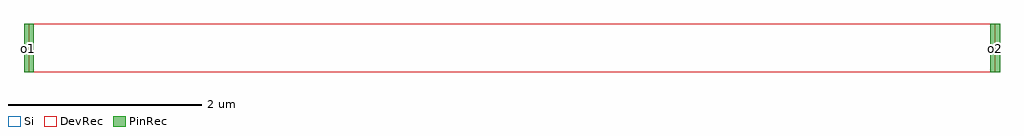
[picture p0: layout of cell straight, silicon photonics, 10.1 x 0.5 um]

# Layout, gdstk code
import gdstk
lib = gdstk.Library(unit=1e-6, precision=1e-09)
def R(c, l, rs):  # rectangles x0, y0, x1, y1
    for r in rs: c.add(gdstk.rectangle(r[:2], r[2:], *l))
Si = (1, 0)
PinRec = (1, 10)
DevRec = (68, 0)

straight = lib.new_cell('straight')
R(straight, Si, [(0,-0.25,10,0.25)])
R(straight, PinRec, [(-0.05,-0.25,0.05,0.25), (9.95,-0.25,10.05,0.25)])
R(straight, DevRec, [(0,-0.25,10,0.25)])
straight.add(gdstk.FlexPath([(0.05,0),(-0.05,0)], 0.5, ends="flush", simple_path=True, layer=1, datatype=10))  # PinRec
straight.add(gdstk.FlexPath([(9.95,0),(10.05,0)], 0.5, ends="flush", simple_path=True, layer=1, datatype=10))  # PinRec
straight.add(gdstk.Label('o1', (0,0), layer=1, texttype=10))
straight.add(gdstk.Label('o2', (10,0), layer=1, texttype=10))

lib.write_gds('straight.gds')
